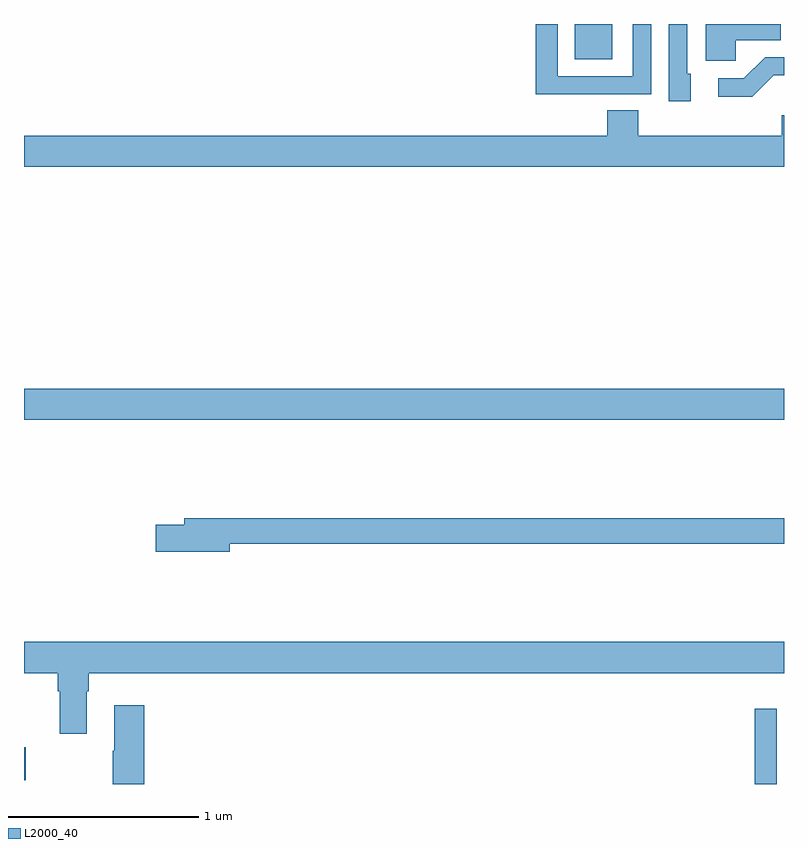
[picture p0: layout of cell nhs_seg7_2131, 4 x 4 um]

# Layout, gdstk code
import gdstk
lib = gdstk.Library(unit=1e-6, precision=1e-09)
def R(c, l, rs):  # rectangles x0, y0, x1, y1
    for r in rs: c.add(gdstk.rectangle(r[:2], r[2:], *l))
def P(c, l, *ps):  # polygons
    for p in ps: c.add(gdstk.Polygon(p, *l))
L2000_40 = (2000, 40)

nhs_seg7_2131 = lib.new_cell('nhs_seg7_2131')
R(nhs_seg7_2131, L2000_40, [(254.845,1032,254.961,1032.397), (251,1032.019,251.008,1032.193), (251,1033.916,255,1034.08), (253.898,1035.815,254.095,1036)])
P(nhs_seg7_2131, L2000_40, [(254.509,1035.738),(254.49,1035.738),(254.49,1036),(254.394,1036),(254.394,1035.594),(254.509,1035.594)],
  [(254.745,1035.914),(254.984,1035.914),(254.984,1036),(254.588,1036),(254.588,1035.806),(254.745,1035.806)],
  [(253.985,1035.63),(254.301,1035.63),(254.301,1036),(254.205,1036),(254.205,1035.726),(253.809,1035.726),(253.809,1036),(253.693,1036),(253.693,1035.629),(253.985,1035.629)],
  [(254.946,1035.729),(255,1035.729),(255,1035.825),(254.9,1035.825),(254.789,1035.714),(254.655,1035.714),(254.655,1035.617),(254.833,1035.617)],
  [(255,1035.521),(254.987,1035.521),(254.987,1035.412),(254.234,1035.412),(254.234,1035.545),(254.069,1035.545),(254.069,1035.412),(251,1035.412),(251,1035.248),(255,1035.248)],
  [(252.082,1033.264),(255,1033.264),(255,1033.4),(251.843,1033.4),(251.843,1033.364),(251.694,1033.364),(251.694,1033.222),(252.082,1033.222)],
  [(251,1032.584),(251.177,1032.584),(251.177,1032.488),(251.189,1032.488),(251.189,1032.264),(251.329,1032.264),(251.329,1032.488),(251.342,1032.488),(251.342,1032.584),(255,1032.584),(255,1032.748),(251,1032.748)],
  [(251.633,1032.415),(251.474,1032.415),(251.474,1032.176),(251.467,1032.176),(251.467,1032),(251.633,1032)])

lib.write_gds('nhs_seg7_2131.gds')
